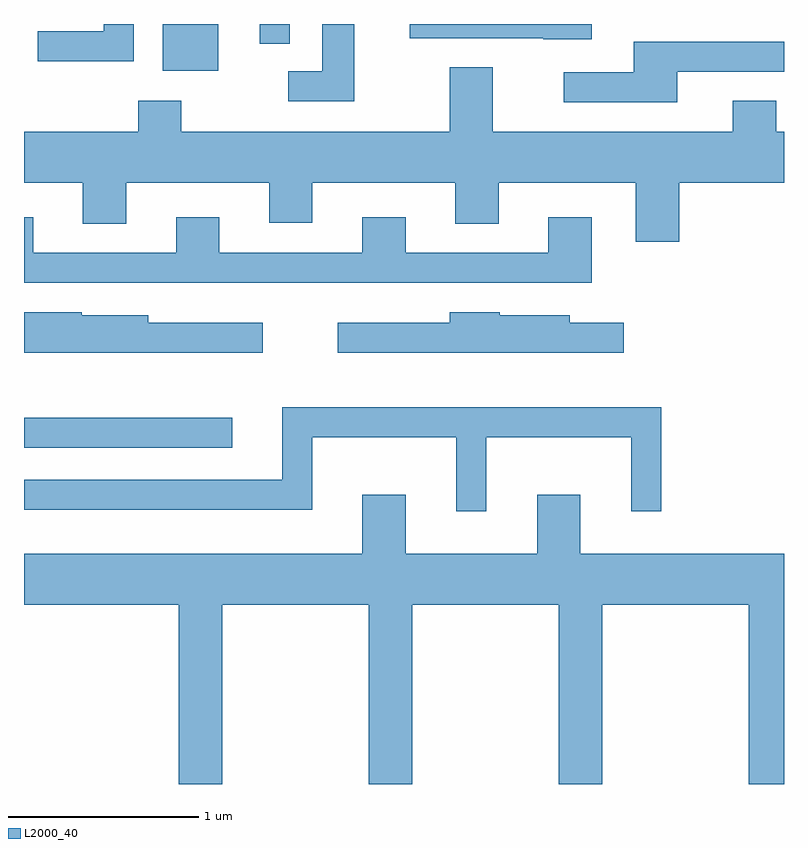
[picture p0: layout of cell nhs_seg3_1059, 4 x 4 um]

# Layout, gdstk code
import gdstk
lib = gdstk.Library(unit=1e-6, precision=1e-09)
def R(c, l, rs):  # rectangles x0, y0, x1, y1
    for r in rs: c.add(gdstk.rectangle(r[:2], r[2:], *l))
def P(c, l, *ps):  # polygons
    for p in ps: c.add(gdstk.Polygon(p, *l))
L2000_40 = (2000, 40)

nhs_seg3_1059 = lib.new_cell('nhs_seg3_1059')
R(nhs_seg3_1059, L2000_40, [(215.611,1195.661,216.708,1195.819), (216.341,1197.646,216.634,1197.892), (216.851,1197.788,217.009,1197.892)])
P(nhs_seg3_1059, L2000_40, [(217.349,1197.892),(217.181,1197.892),(217.181,1197.644),(217.003,1197.644),(217.003,1197.486),(217.349,1197.486)],
  [(216.189,1197.892),(216.031,1197.892),(216.031,1197.854),(215.683,1197.854),(215.683,1197.696),(216.189,1197.696)],
  [(218.599,1197.892),(217.641,1197.892),(217.641,1197.816),(218.345,1197.816),(218.345,1197.811),(218.599,1197.811)],
  [(219.049,1197.641),(219.611,1197.641),(219.611,1197.799),(218.821,1197.799),(218.821,1197.639),(218.453,1197.639),(218.453,1197.481),(219.049,1197.481)],
  [(217.851,1197.324),(216.439,1197.324),(216.439,1197.489),(216.211,1197.489),(216.211,1197.324),(215.611,1197.324),(215.611,1197.056),(215.921,1197.056),(215.921,1196.841),(216.149,1196.841),(216.149,1197.056),(216.901,1197.056),(216.901,1196.846),(217.129,1196.846),(217.129,1197.056),(217.881,1197.056),(217.881,1196.841),(218.109,1196.841),(218.109,1197.056),(218.831,1197.056),(218.831,1196.746),(219.059,1196.746),(219.059,1197.056),(219.611,1197.056),(219.611,1197.324),(219.569,1197.324),(219.569,1197.489),(219.341,1197.489),(219.341,1197.324),(218.079,1197.324),(218.079,1197.664),(217.851,1197.664)],
  [(218.599,1196.874),(218.371,1196.874),(218.371,1196.689),(217.619,1196.689),(217.619,1196.874),(217.391,1196.874),(217.391,1196.689),(216.639,1196.689),(216.639,1196.874),(216.411,1196.874),(216.411,1196.689),(215.659,1196.689),(215.659,1196.874),(215.611,1196.874),(215.611,1196.531),(218.599,1196.531)],
  [(216.868,1196.319),(216.264,1196.319),(216.264,1196.359),(215.915,1196.359),(215.915,1196.374),(215.611,1196.374),(215.611,1196.161),(216.868,1196.161)],
  [(218.768,1196.319),(218.484,1196.319),(218.484,1196.359),(218.115,1196.359),(218.115,1196.374),(217.851,1196.374),(217.851,1196.319),(217.263,1196.319),(217.263,1196.161),(218.768,1196.161)],
  [(218.044,1195.716),(218.806,1195.716),(218.806,1195.328),(218.964,1195.328),(218.964,1195.874),(216.971,1195.874),(216.971,1195.494),(215.611,1195.494),(215.611,1195.336),(217.129,1195.336),(217.129,1195.716),(217.886,1195.716),(217.886,1195.328),(218.044,1195.328)],
  [(218.539,1195.414),(218.311,1195.414),(218.311,1195.104),(217.619,1195.104),(217.619,1195.414),(217.391,1195.414),(217.391,1195.104),(215.611,1195.104),(215.611,1194.836),(216.426,1194.836),(216.426,1193.892),(216.654,1193.892),(216.654,1194.836),(217.426,1194.836),(217.426,1193.892),(217.654,1193.892),(217.654,1194.836),(218.426,1194.836),(218.426,1193.892),(218.654,1193.892),(218.654,1194.836),(219.426,1194.836),(219.426,1193.892),(219.611,1193.892),(219.611,1195.104),(218.539,1195.104)])

lib.write_gds('nhs_seg3_1059.gds')
